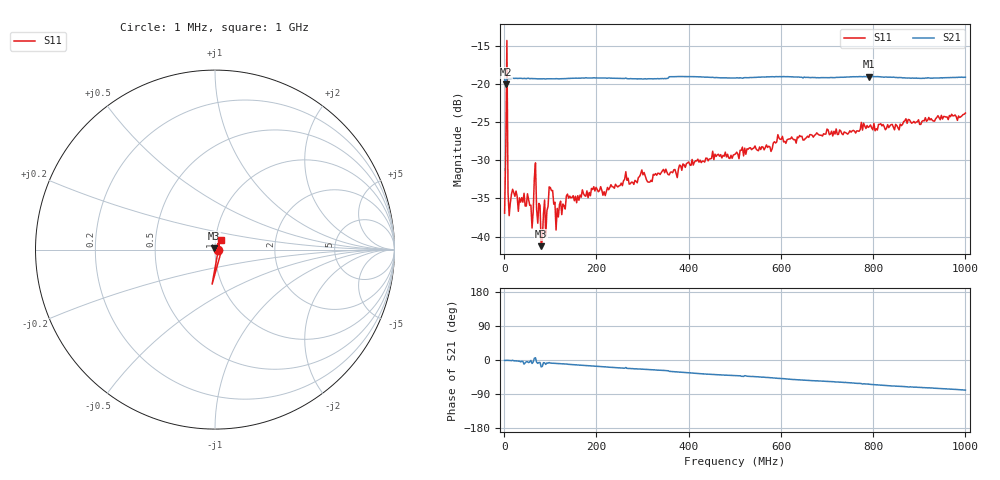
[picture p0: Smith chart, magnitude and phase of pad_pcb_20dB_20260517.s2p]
# HZ S RI R 50
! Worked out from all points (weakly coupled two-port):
!   404 points, 1 MHz to 1 GHz, reference 50 ohm
!   highest |S21| = -19.01 dB at 791.8 MHz (marker M1); lowest = -20.0 dB at 3.479 MHz (marker M2)
!   lowest |S11| = -41.3 dB at 80.33 MHz (marker M3), VSWR 1.02, Z = 49.5 + j0.725 ohm
!   |S11| at or under -10 dB: start of sweep to end of sweep
!   S12 and S22 are empty: the file has one direction only
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1000000  0.0142 -0.0013  0.108 -0.00196  0 0  0 0
3478908  0.0355 -0.00732  0.0998 -0.00207  0 0  0 0
8436724  0.0192 0.00294  0.1084 -0.00194  0 0  0 0
1.091563e7  0.0137 0.0013  0.1087 -0.00231  0 0  0 0
1.339454e7  0.0166 0.000674  0.1086 -0.00285  0 0  0 0
2.331017e7  0.0181 0.00344  0.1088 -0.004  0 0  0 0
5.801488e7  0.0144 0.00703  0.1087 -0.0021  0 0  0 0
6.29727e7  0.0112 0.00935  0.1081 -0.0104  0 0  0 0
7.040942e7  0.0151 -6.95e-05  0.1078 -0.0113  0 0  0 0
7.536724e7  0.0151 0.00667  0.1076 -0.0123  0 0  0 0
8.032506e7  -0.00462 0.00732  0.1028 -0.0338  0 0  0 0
8.528287e7  0.0127 0.0063  0.1075 -0.0134  0 0  0 0
1.001563e8  0.0199 0.00658  0.1072 -0.0153  0 0  0 0
1.125509e8  0.011 0.000671  0.1071 -0.0174  0 0  0 0
1.398188e8  0.0156 0.00871  0.1067 -0.0216  0 0  0 0
1.695657e8  0.0163 0.0121  0.1065 -0.0261  0 0  0 0
3.356526e8  0.0174 0.0193  0.0965 -0.0488  0 0  0 0
5.017394e8  0.0198 0.0287  0.0825 -0.0722  0 0  0 0
6.678263e8  0.0277 0.0369  0.0642 -0.0899  0 0  0 0
7.917717e8  0.0271 0.0452  0.0493 -0.1007  0 0  0 0
8.339131e8  0.0283 0.0434  0.0417 -0.103  0 0  0 0
9.999999e8  0.0339 0.055  0.0202 -0.1089  0 0  0 0
